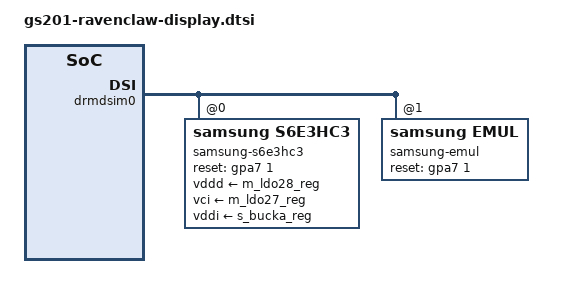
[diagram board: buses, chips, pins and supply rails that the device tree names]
// SPDX-License-Identifier: GPL-2.0-only
/*
 * Display nodes for slider-related boards.
 *
 * Copyright 2021 Google LLC
 *
 */

#include "gs201-raven-display-constants.dtsi"

&drmdsim0 {
	samsung_s6e3hc3: panel@0 {
		compatible = "samsung,s6e3hc3";
		label = "samsung-s6e3hc3";
		channel = <0>;
		touch = <&spitouch>;

		/* reset, power */
		reset-gpios = <&gpa7 1 GPIO_ACTIVE_HIGH>;
		vddd-supply = <&m_ldo28_reg>;
		vddd-normal-microvolt = <RAVEN_VDD_NORMAL_MICROVOLT>;
		vddd-lp-microvolt = <RAVEN_VDD_LP_MICROVOLT>;
		vci-supply = <&m_ldo27_reg>;
		vddi-supply = <&s_bucka_reg>;
	};
	panel@1 {
		compatible = "samsung,emul";
		label = "samsung-emul";
		channel = <0>;

		/* reset, power */
		reset-gpios = <&gpa7 1 GPIO_ACTIVE_HIGH>;
	};
};


